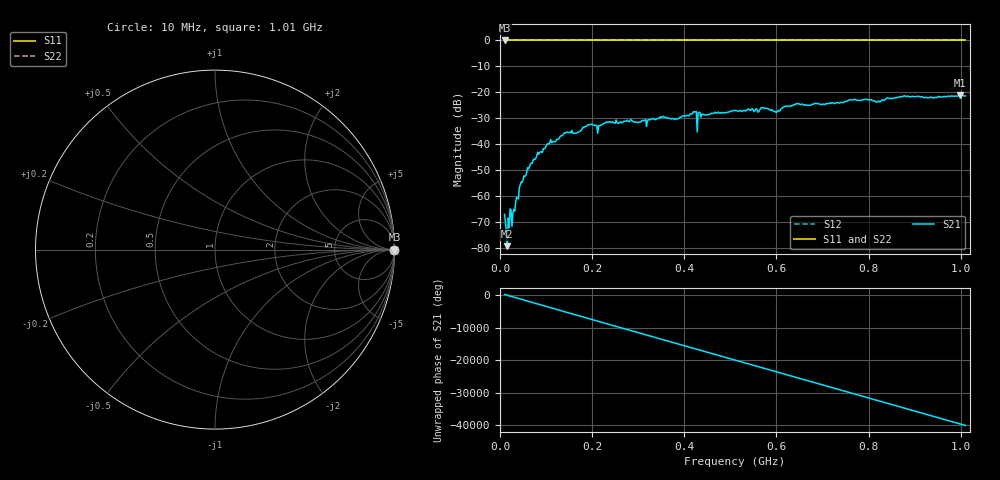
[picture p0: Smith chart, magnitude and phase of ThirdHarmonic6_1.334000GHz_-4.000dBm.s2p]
! 8/16/2025 2:55:45 PM
! C:\ANRITSUVNA\TEMP\TEMP.S2P
! CHANNEL.1
! TR.MEASUREMENT
! RAW.DATA
! RF.CORRECTION.OFF
! AVERAGING.OFF
! IF.BANDWIDTH: 5KHZ
! SWEEPTYPE:  FREQ.SWEEP(Linear)
! Reference Plane Port Info
! PORT:  PORT1  PORT2
! DISTANCE:  0  m  0  m
! TIME:  0  s  0  s
! PHASE.OFFSET:  0  deg.  0  deg.
! LOSS:  0  dB  0  dB
! REF.LOSS:  0  dB  0  dB
! REF.FREQ:  0  Hz  0  Hz
! Power Info
! POWER:  -20  dBm  -20  dBm
! EFF.POWER:  -20  dBm  -20  dBm
! SOURCE.ATTEN:  0  dB  0  dB
! TEST.ATTEN:  0  dB  0  dB
# GHZ S RI R 50.0
! FREQ.GHZ  S11RE  S11IM  S21RE  S21IM  S12RE  S12IM  S22RE  S22IM
!; PortSelection: Port_12
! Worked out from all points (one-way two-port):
!   501 points, 10 MHz to 1.01 GHz, reference 50 ohm
!   highest |S21| = -21.03 dB at 998 MHz (marker M1); lowest = -79.1 dB at 16 MHz (marker M2)
!   lowest |S11| = 0.0 dB at 10 MHz (marker M3)
!   |S11| at or under -10 dB: nowhere
!   |S22| runs from 0.0 to 0.0 dB; largest |S21 - S12| = 1.1
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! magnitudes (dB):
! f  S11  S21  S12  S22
! 10 MHz  0.0  -66.9  0.0  0.0
! 16 MHz  0.0  -79.1  0.0  0.0
! 22 MHz  0.0  -64.8  0.0  0.0
! 30 MHz  0.0  -65.0  0.0  0.0
! 46 MHz  0.0  -54.4  0.0  0.0
! 78 MHz  0.0  -45.3  0.0  0.0
! 106 MHz  0.0  -39.9  0.0  0.0
! 178 MHz  0.0  -34.2  0.0  0.0
! 196 MHz  0.0  -32.4  0.0  0.0
! 214 MHz  0.0  -32.8  0.0  0.0
! 234 MHz  0.0  -31.6  0.0  0.0
! 344 MHz  0.0  -30.0  0.0  0.0
! 422 MHz  0.0  -27.5  0.0  0.0
! 432 MHz  0.0  -27.7  0.0  0.0
! 510 MHz  0.0  -26.9  0.0  0.0
! 570 MHz  0.0  -25.8  0.0  0.0
! 598 MHz  0.0  -27.6  0.0  0.0
! 644 MHz  0.0  -24.4  0.0  0.0
! 678 MHz  0.0  -24.6  0.0  0.0
! 844 MHz  0.0  -22.3  0.0  0.0
! 998 MHz  0.0  -21.0  0.0  0.0
! 1.01 GHz  0.0  -21.3  0.0  0.0
